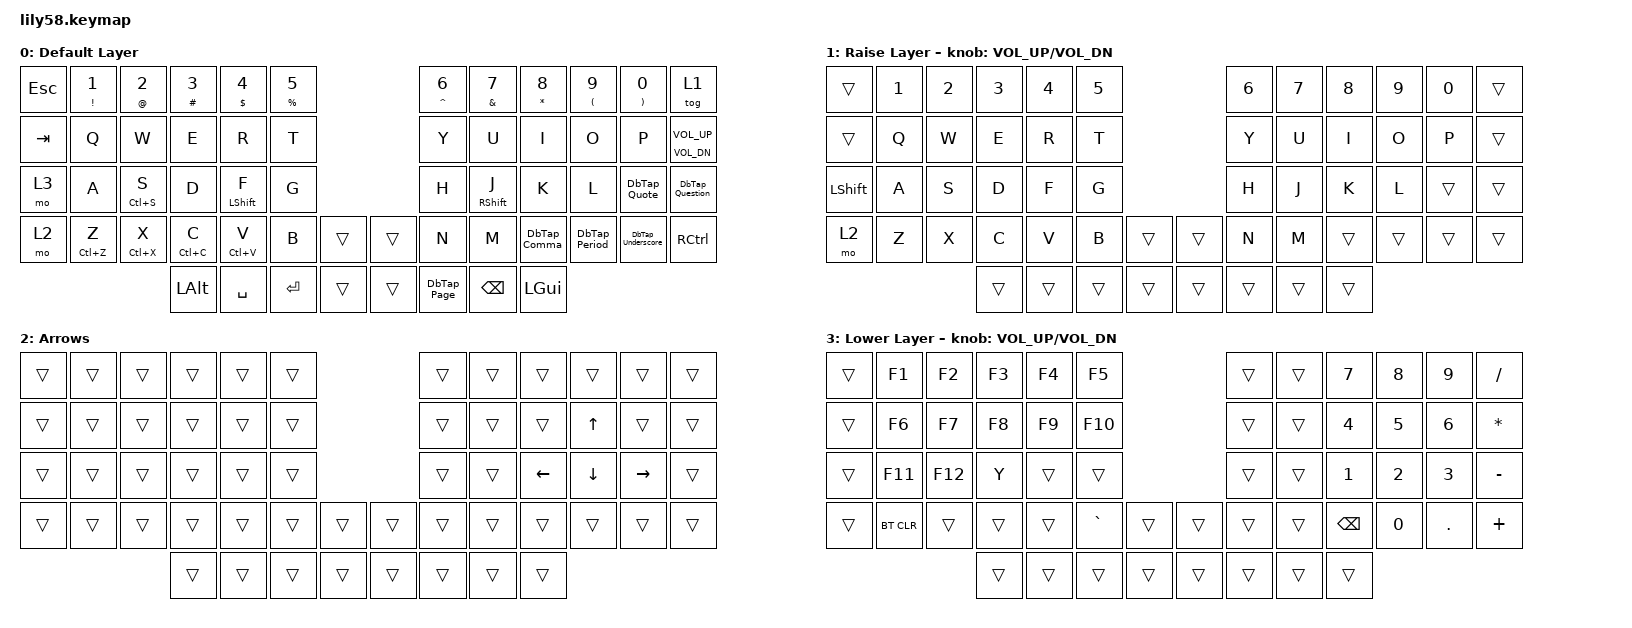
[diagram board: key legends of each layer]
/*
 * Copyright (c) 2020 The ZMK Contributors
 *
 * SPDX-License-Identifier: MIT
 */

#include <behaviors.dtsi>
#include <dt-bindings/zmk/bt.h>
#include <dt-bindings/zmk/keys.h>

/ {
    behaviors {
        DbTap_Comma: DbTap_Comma {
            compatible = "zmk,behavior-tap-dance";
            label = "DBTAP_COMMA";
            #binding-cells = <0>;
            bindings = <&kp COMMA>, <&kp SEMI>;
        };

        DbTap_Underscore: DbTap_Underscore {
            compatible = "zmk,behavior-tap-dance";
            label = "DBTAP_UNDERSCORE";
            #binding-cells = <0>;
            bindings = <&kp MINUS>, <&kp UNDER>;
        };

        DbTap_Period: DbTap_Period {
            compatible = "zmk,behavior-tap-dance";
            label = "DBTAP_PERIOD";
            #binding-cells = <0>;
            bindings = <&kp PERIOD>, <&kp COLON>;
        };

        DbTap_Question: DbTap_Question {
            compatible = "zmk,behavior-tap-dance";
            label = "DBTAP_QUESTION";
            #binding-cells = <0>;
            bindings = <&kp QUESTION>, <&kp SLASH>;
        };

        DbTap_Quote: DbTap_Quote {
            compatible = "zmk,behavior-tap-dance";
            label = "DBTAP_QUOTE";
            #binding-cells = <0>;
            bindings = <&kp SINGLE_QUOTE>, <&kp DOUBLE_QUOTES>;
        };

        LongPress: LongPress {
            compatible = "zmk,behavior-hold-tap";
            label = "LONGPRESS";
            bindings = <&kp>, <&kp>;

            #binding-cells = <2>;
            tapping-term-ms = <350>;
            flavor = "tap-preferred";
        };

        HR_ShiftR: HR_ShiftR {
            compatible = "zmk,behavior-hold-tap";
            label = "HR_SHIFTR";
            bindings = <&kp>, <&kp>;

            #binding-cells = <2>;
            tapping-term-ms = <200>;
            hold-while-undecided;
            hold-trigger-on-release;
            hold-trigger-key-positions = <0 1 2 3 4 5 12 13 14 15 16 17 24 25 26 27 28 29 36 37 38 39 40 41 42 50 51 52 53>;
        };

        HR_ShiftL: HR_ShiftL {
            compatible = "zmk,behavior-hold-tap";
            label = "HR_SHIFTL";
            bindings = <&kp>, <&kp>;

            #binding-cells = <2>;
            tapping-term-ms = <200>;
            hold-while-undecided;
            hold-trigger-on-release;
            hold-trigger-key-positions = <10 11 19 20 21 22 23 31 32 33 34 35 45 46 47 48 49 55 56 57 6 7 8 9 10 11 18 19 20 21 22 23 30 31 32 33 34 35 43 44 45 46 47 48 49 54 55 56 57>;
        };

        HM_R: HM_R {
            compatible = "zmk,behavior-hold-tap";
            label = "HM_R";
            bindings = <&kp>, <&kp>;

            #binding-cells = <2>;
            tapping-term-ms = <200>;
            hold-while-undecided;
            hold-trigger-on-release;
            hold-trigger-key-positions = <0 1 2 3 4 5 12 13 14 15 16 17 24 25 26 27 28 29 36 37 38 39 40 41 42 50 51 52 53>;
            flavor = "tap-preferred";
        };

        HM_L: HM_L {
            compatible = "zmk,behavior-hold-tap";
            label = "HM_L";
            bindings = <&kp>, <&kp>;

            #binding-cells = <2>;
            tapping-term-ms = <200>;
            hold-while-undecided;
            hold-trigger-on-release;
            hold-trigger-key-positions = <10 11 19 20 21 22 23 31 32 33 34 35 45 46 47 48 49 55 56 57 6 7 8 9 10 11 18 19 20 21 22 23 30 31 32 33 34 35 43 44 45 46 47 48 49 54 55 56 57>;
            flavor = "tap-preferred";
        };

        DbTap_Page: DbTap_Page {
            compatible = "zmk,behavior-tap-dance";
            label = "DBTAP_PAGE";
            #binding-cells = <0>;
            bindings = <&kp PAGE_DOWN>, <&kp PG_UP>;
        };
    };

    keymap {
        compatible = "zmk,keymap";

        Typing {
            display-name = "Default Layer";

            // ------------------------------------------------------------------------------------------------------------
            // |  ESC  |  1  |  2  |  3   |  4   |  5   |                   |  6   |  7    |  8    |  9   |   0   |   `   |
            // |  TAB  |  Q  |  W  |  E   |  R   |  T   |                   |  Y   |  U    |  I    |  O   |   P   |   -   |
            // |  CTRL |  A  |  S  |  D   |  F   |  G   |                   |  H   |  J    |  K    |  L   |   ;   |   '   |
            // | SHIFT |  Z  |  X  |  C   |  V   |  B   |   "["  |  |  "]"  |  N   |  M    |  ,    |  .   |   /   | SHIFT |
            //                     | ALT  | GUI  | LOWER|  SPACE |  | ENTER | RAISE| BSPC  | GUI   |

            bindings = <
&kp ESC  &LongPress EXCL NUMBER_1  &LongPress AT NUMBER_2  &LongPress HASH NUMBER_3  &LongPress DOLLAR NUMBER_4  &LongPress PERCENT N5                    &LongPress CARET NUMBER_6  &LongPress AMPERSAND N7   &LongPress ASTERISK N8  &LongPress LEFT_PARENTHESIS N9  &LongPress RIGHT_PARENTHESIS N0  &tog 1
&kp TAB  &kp Q                     &kp W                   &kp E                     &kp R                       &kp T                                    &kp Y                      &kp U                     &kp I                   &kp O                           &kp P                            &LongPress C_VOL_DN C_VOLUME_UP
&mo 3    &kp A                     &LongPress LC(S) S      &kp D                     &HR_ShiftL LEFT_SHIFT F     &kp G                                    &kp H                      &HR_ShiftR RIGHT_SHIFT J  &kp K                   &kp L                           &DbTap_Quote                     &DbTap_Question
&mo 2    &LongPress LC(Z) Z        &LongPress LC(X) X      &LongPress LC(C) C        &LongPress LC(V) V          &kp B                  &trans    &trans  &kp N                      &kp M                     &DbTap_Comma            &DbTap_Period                   &DbTap_Underscore                &kp RIGHT_CONTROL
                                                           &kp LEFT_ALT              &kp SPACE                   &kp ENTER              &trans    &trans  &DbTap_Page                &kp BACKSPACE             &kp LEFT_GUI
            >;
        };

        Gaming {
            display-name = "Raise Layer";

            // ------------------------------------------------------------------------------------------------------------
            // |       |     |     |      |      |      |                   |      |       |       |      |       |       |
            // |   `   |  1  |  2  |  3   |  4   |  5   |                   |  6   |   7   |   8   |  9   |   0   |       |
            // |   F1  |  F2 |  F3 |  F4  |  F5  |  F6  |                   |      |   <-  |   v   |  ^   |  ->   |       |
            // |   F7  |  F8 |  F9 |  F10 |  F11 |  F12 |        |  |       |  +   |   -   |   =   |  [   |   ]   |   \   |
            //                     |      |      |      |        |  |       |      |       |       |

            bindings = <
&trans          &kp N1  &kp N2  &kp N3  &kp N4  &kp N5                    &kp N6  &kp N7  &kp N8  &kp N9  &kp N0  &trans
&trans          &kp Q   &kp W   &kp E   &kp R   &kp T                     &kp Y   &kp U   &kp I   &kp O   &kp P   &trans
&kp LEFT_SHIFT  &kp A   &kp S   &kp D   &kp F   &kp G                     &kp H   &kp J   &kp K   &kp L   &trans  &trans
&mo 2           &kp Z   &kp X   &kp C   &kp V   &kp B   &trans    &trans  &kp N   &kp M   &trans  &trans  &trans  &trans
                                &trans  &trans  &trans  &trans    &trans  &trans  &trans  &trans
            >;

            sensor-bindings = <&inc_dec_kp C_VOL_UP C_VOL_DN>;
        };

        Arrows {
            bindings = <
&trans  &trans  &trans  &trans  &trans  &trans                    &trans  &trans  &trans          &trans          &trans           &trans
&trans  &trans  &trans  &trans  &trans  &trans                    &trans  &trans  &trans          &kp UP_ARROW    &trans           &trans
&trans  &trans  &trans  &trans  &trans  &trans                    &trans  &trans  &kp LEFT_ARROW  &kp DOWN_ARROW  &kp RIGHT_ARROW  &trans
&trans  &trans  &trans  &trans  &trans  &trans  &trans    &trans  &trans  &trans  &trans          &trans          &trans           &trans
                        &trans  &trans  &trans  &trans    &trans  &trans  &trans  &trans
            >;
        };

        NumPad {
            display-name = "Lower Layer";

            // ------------------------------------------------------------------------------------------------------------
            // | BTCLR | BT1 | BT2 |  BT3 |  BT4 |  BT5 |                   |      |       |       |      |       |       |
            // |  F1   |  F2 |  F3 |  F4  |  F5  |  F6  |                   |  F7  |  F8   |  F9   |  F10 |  F11  |  F12  |
            // |   `   |  !  |  @  |  #   |  $   |  %   |                   |  ^   |  &    |  *    |  (   |   )   |   ~   |
            // |       |     |     |      |      |      |        |  |       |      |  _    |  +    |  {   |   }   |  "|"  |
            //                     |      |      |      |        |  |       |      |       |       |

            bindings = <
&trans  &kp F1      &kp F2   &kp F3  &kp F4  &kp F5                       &trans  &trans  &kp N7    &kp N8  &kp N9   &kp FSLH
&trans  &kp F6      &kp F7   &kp F8  &kp F9  &kp F10                      &trans  &trans  &kp N4    &kp N5  &kp N6   &kp STAR
&trans  &kp F11     &kp F12  &kp Y   &trans  &trans                       &trans  &trans  &kp N1    &kp N2  &kp N3   &kp MINUS
&trans  &bt BT_CLR  &trans   &trans  &trans  &kp GRAVE  &trans    &trans  &trans  &trans  &kp BSPC  &kp N0  &kp DOT  &kp PLUS
                             &trans  &trans  &trans     &trans    &trans  &trans  &trans  &trans
            >;

            sensor-bindings = <&inc_dec_kp C_VOL_UP C_VOL_DN>;
        };
    };
};
